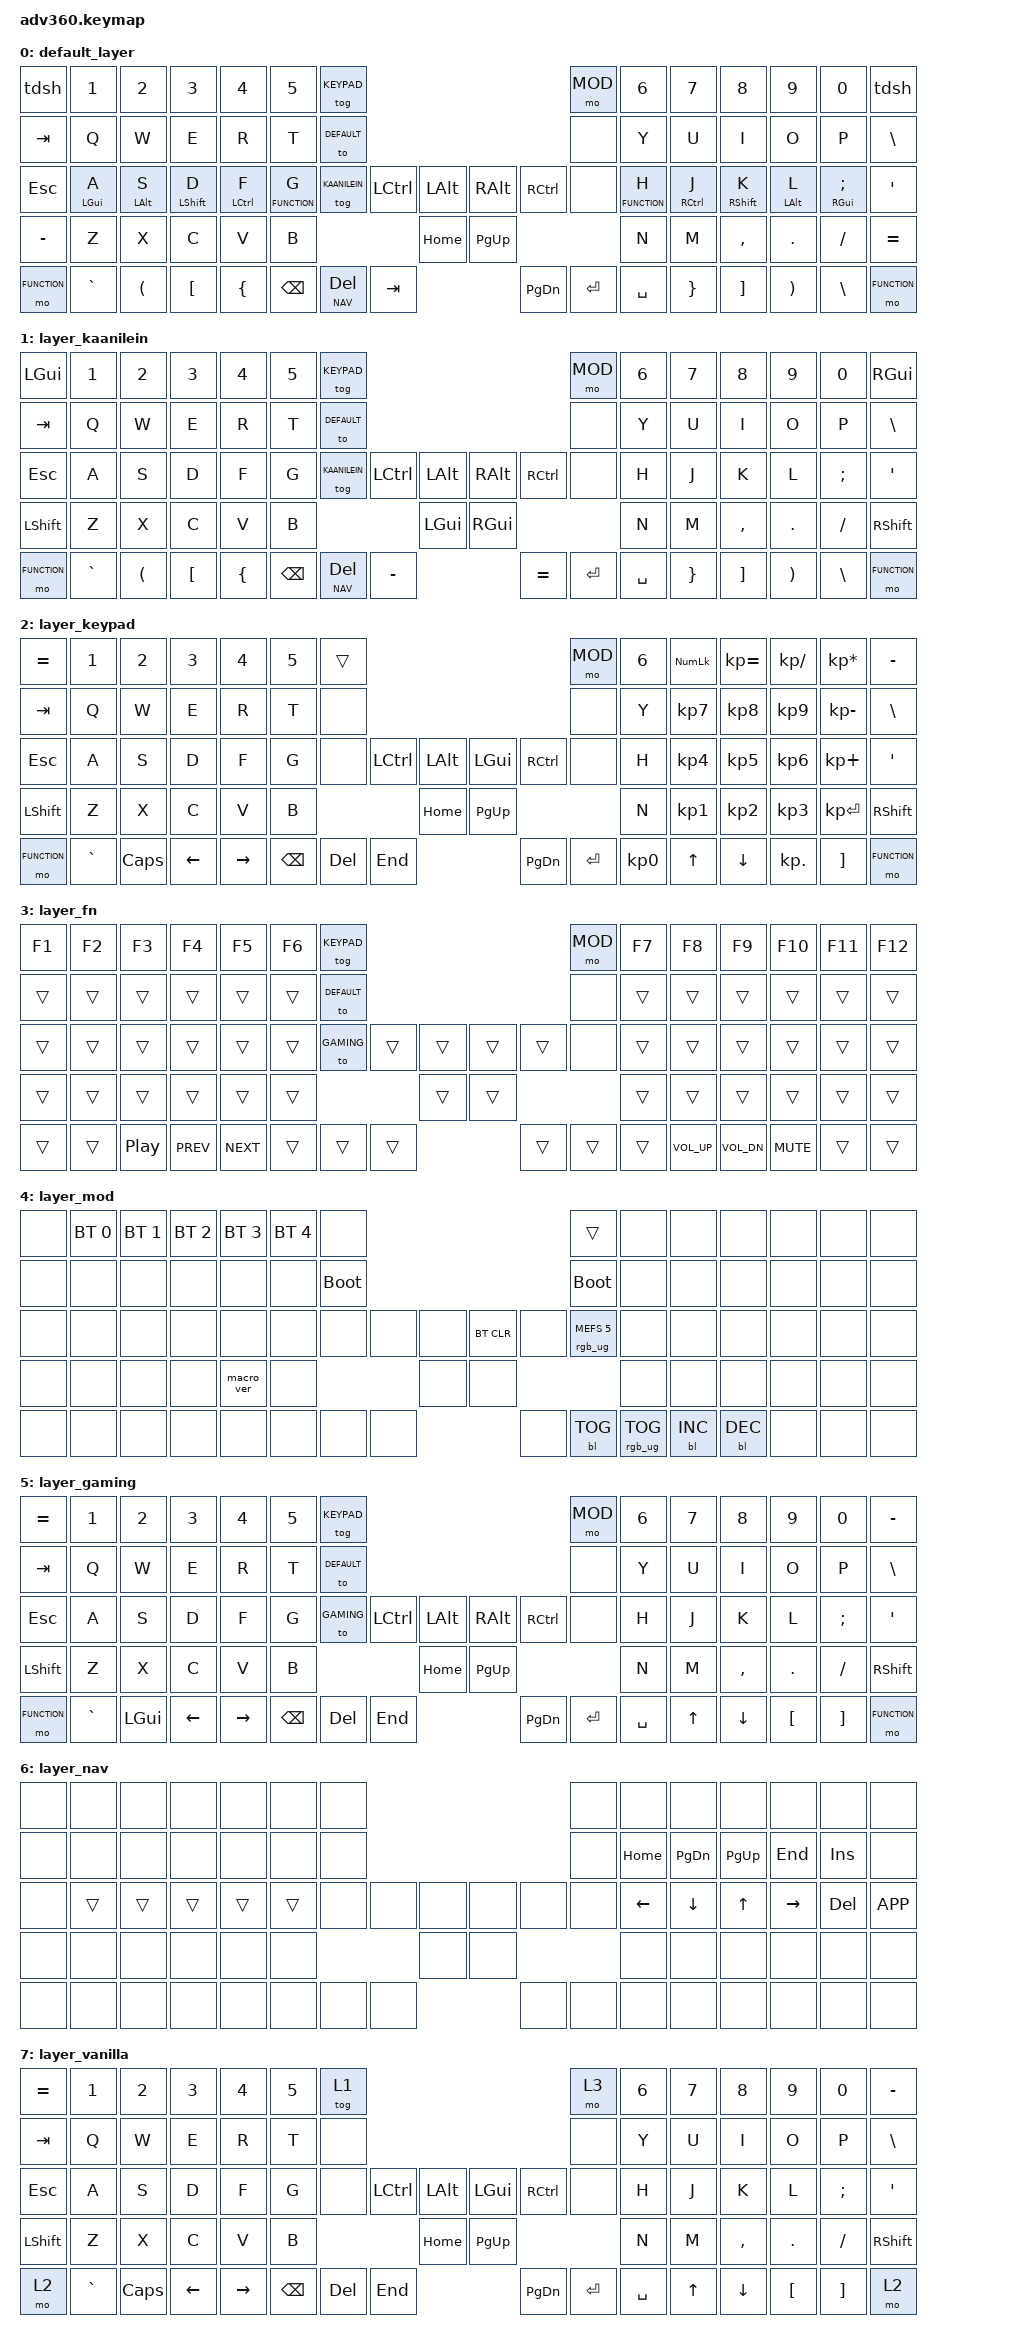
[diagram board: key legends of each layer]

/*
 * Copyright (c) 2020 The ZMK Contributors
 *
 * SPDX-License-Identifier: MIT
 */

#define DEFAULT   0
#define KAANILEIN 1
#define KEYPAD    2
#define FUNCTION  3
#define MOD       4
#define GAMING    5
#define NAV       6
#define VANILLA   7

#include <behaviors.dtsi>
#include <dt-bindings/zmk/keys.h>
#include <dt-bindings/zmk/bt.h>
#include <dt-bindings/zmk/rgb.h>
#include <dt-bindings/zmk/backlight.h>

/ {
  behaviors {
    #include "macros.dtsi"
    #include "version.dtsi"

    hm: homerow_mods {
        compatible = "zmk,behavior-hold-tap";
        label = "HOMEROW_MODS";
        #binding-cells = <2>;
        tapping-term-ms = <200>;
        quick_tap_ms = <0>;
        require-prior-idle-ms = <125>;
        flavor = "tap-preferred";
        bindings = <&kp>, <&kp>;
    };

    lt: layer_tap {
        compatible = "zmk,behavior-hold-tap";
        label = "LAYER_TAP";
        #binding-cells = <2>;
        flavor = "tap-preferred";
        tapping-term-ms = <200>;
        quick-tap-ms = <125>;
        global-quick-tap;
        bindings = <&mo>, <&kp>;
    };

    tdsh: tap_dance_shift {
      compatible = "zmk,behavior-tap-dance";
      label = "TAP_DANCE_SHIFT";
      #binding-cells = <0>;
      tapping-term-ms = <200>;
      bindings = <&caps_word>, <&kp CAPS>;
    };
  };

    keymap {
        compatible = "zmk,keymap";

        default_layer {
            bindings = <
         &tdsh      &kp N1      &kp N2       &kp N3       &kp N4          &kp N5     &tog KEYPAD                                                         &mo MOD    &kp N6          &kp N7       &kp N8       &kp N9      &kp N0         &tdsh
       &kp TAB       &kp Q       &kp W        &kp E        &kp R           &kp T     &to DEFAULT                                                         &none      &kp Y           &kp U        &kp I        &kp O       &kp P          &kp BSLH
       &kp ESC  &hm LGUI A  &hm LALT S  &hm LSHFT D  &hm LCTRL F  &lt FUNCTION G      &tog KAANILEIN  &kp LCTRL      &kp LALT          &kp RALT   &kp RCTRL  &none      &lt FUNCTION H  &hm RCTRL J  &hm RSHFT K  &hm LALT L  &hm RGUI SEMI  &kp SQT
     &kp MINUS       &kp Z       &kp X        &kp C        &kp V           &kp B                                 &kp HOME          &kp PG_UP                        &kp N           &kp M        &kp COMMA    &kp DOT     &kp FSLH       &kp EQUAL
  &mo FUNCTION   &kp GRAVE    &kp LPAR     &kp LBKT    &kp LBRC                        &kp BSPC    &lt NAV DEL   &kp TAB          &kp PG_DN  &kp ENTER  &kp SPACE                  &kp RBRC       &kp RBKT     &kp RPAR   &kp BSLH       &mo FUNCTION
            >;
        };

        layer_kaanilein {
            bindings = <
                &kp LGUI     &kp N1    &kp N2   &kp N3   &kp N4   &kp N5 &tog KEYPAD                                                                 &mo MOD &kp N6 &kp N7   &kp N8    &kp N9   &kp N0   &kp RGUI
                &kp TAB      &kp Q     &kp W    &kp E    &kp R    &kp T  &to DEFAULT                                                                 &none   &kp Y  &kp U    &kp I     &kp O    &kp P    &kp BSLH
                &kp ESC      &kp A     &kp S    &kp D    &kp F    &kp G  &tog KAANILEIN          &kp LCTRL   &kp LALT  &kp RALT  &kp RCTRL           &none   &kp H  &kp J    &kp K     &kp L    &kp SEMI &kp SQT
                &kp LSHFT    &kp Z     &kp X    &kp C    &kp V    &kp B                                      &kp LGUI  &kp RGUI                              &kp N  &kp M    &kp COMMA &kp DOT  &kp FSLH &kp RSHFT
                &mo FUNCTION &kp GRAVE &kp LPAR &kp LBKT &kp LBRC                       &kp BSPC &lt NAV DEL &kp MINUS &kp EQUAL &kp ENTER &kp SPACE                &kp RBRC &kp RBKT  &kp RPAR &kp BSLH &mo FUNCTION
                >;
        };

        layer_keypad {
            bindings = <
     &kp EQUAL     &kp N1    &kp N2    &kp N3     &kp N4  &kp N5              &trans                                                                 &mo MOD  &kp N6  &kp KP_NUM  &kp KP_EQUAL  &kp KP_DIVIDE  &kp KP_MULTIPLY     &kp MINUS
       &kp TAB      &kp Q     &kp W     &kp E      &kp R   &kp T               &none                                                                   &none   &kp Y   &kp KP_N7     &kp KP_N8      &kp KP_N9     &kp KP_MINUS      &kp BSLH
       &kp ESC      &kp A     &kp S     &kp D      &kp F   &kp G               &none  &kp LCTRL  &kp LALT                   &kp LGUI  &kp RCTRL        &none   &kp H   &kp KP_N4     &kp KP_N5      &kp KP_N6      &kp KP_PLUS       &kp SQT
     &kp LSHFT      &kp Z     &kp X     &kp C      &kp V   &kp B                                 &kp HOME                  &kp PG_UP                           &kp N   &kp KP_N1     &kp KP_N2      &kp KP_N3     &kp KP_ENTER     &kp RSHFT
  &mo FUNCTION  &kp GRAVE  &kp CAPS  &kp LEFT  &kp RIGHT                    &kp BSPC    &kp DEL   &kp END                  &kp PG_DN  &kp ENTER    &kp KP_N0              &kp UP      &kp DOWN     &kp KP_DOT         &kp RBKT  &mo FUNCTION
            >;
        };

        layer_fn {
            bindings = <
 &kp F1  &kp F2  &kp F3     &kp F4      &kp F5      &kp F6       &tog KEYPAD                                                   &mo MOD  &kp F7  &kp F8        &kp F9         &kp F10      &kp F11  &kp F12
 &trans  &trans  &trans     &trans      &trans      &trans       &to DEFAULT                                                     &none  &trans  &trans        &trans         &trans       &trans   &trans
 &trans  &trans  &trans     &trans      &trans      &trans        &to GAMING  &trans  &trans                  &trans  &trans     &none  &trans  &trans        &trans         &trans       &trans   &trans
 &trans  &trans  &trans     &trans      &trans      &trans                            &trans                  &trans                    &trans  &trans        &trans         &trans       &trans   &trans
 &trans  &trans  &kp C_PP   &kp C_PREV  &kp C_NEXT                    &trans  &trans  &trans                  &trans  &trans    &trans          &kp C_VOL_UP  &kp C_VOL_DN   &kp C_MUTE   &trans   &trans
            >;
        };

        layer_mod {
            bindings = <
  &none  &bt BT_SEL 0  &bt BT_SEL 1  &bt BT_SEL 2  &bt BT_SEL 3  &bt BT_SEL 4                  &none                                                                          &trans   &none       &none       &none   &none   &none   &none
  &none         &none         &none         &none         &none         &none            &bootloader                                                                     &bootloader   &none       &none       &none   &none   &none   &none
  &none         &none         &none         &none         &none         &none                  &none   &none   &none                  &bt BT_CLR       &none  &rgb_ug RGB_MEFS_CMD 5   &none       &none       &none   &none   &none   &none
  &none         &none         &none         &none    &macro_ver         &none                                  &none                       &none                                       &none       &none       &none   &none   &none   &none
  &none         &none         &none         &none         &none                                &none   &none   &none                       &none  &bl BL_TOG         &rgb_ug RGB_TOG          &bl BL_INC  &bl BL_DEC   &none   &none   &none
            >;
        };

        layer_gaming {
            bindings = <
     &kp EQUAL     &kp N1    &kp N2    &kp N3     &kp N4  &kp N5         &tog KEYPAD                                                                 &mo MOD  &kp N6  &kp N7     &kp N8    &kp N9    &kp N0     &kp MINUS
       &kp TAB      &kp Q     &kp W     &kp E      &kp R   &kp T         &to DEFAULT                                                                   &none   &kp Y   &kp U      &kp I     &kp O     &kp P      &kp BSLH
       &kp ESC      &kp A     &kp S     &kp D      &kp F   &kp G          &to GAMING  &kp LCTRL  &kp LALT                   &kp RALT  &kp RCTRL        &none   &kp H   &kp J      &kp K     &kp L  &kp SEMI       &kp SQT
     &kp LSHFT      &kp Z     &kp X     &kp C      &kp V   &kp B                                 &kp HOME                  &kp PG_UP                           &kp N   &kp M  &kp COMMA   &kp DOT  &kp FSLH     &kp RSHFT
  &mo FUNCTION  &kp GRAVE  &kp LGUI  &kp LEFT  &kp RIGHT                    &kp BSPC    &kp DEL   &kp END                  &kp PG_DN  &kp ENTER    &kp SPACE          &kp UP   &kp DOWN  &kp LBKT  &kp RBKT  &mo FUNCTION
            >;
        };

        layer_nav {
            bindings = <
  &none         &none         &none         &none         &none         &none                  &none                                                       &none                   &none       &none       &none      &none      &none      &none
  &none         &none         &none         &none         &none         &none                  &none                                                       &none                   &kp HOME    &kp PG_DN   &kp PG_UP  &kp END    &kp INS    &none
  &none         &trans        &trans        &trans        &trans        &trans                 &none   &none   &none                       &none   &none   &none                   &kp LEFT    &kp DOWN    &kp UP     &kp RIGHT  &kp DEL    &kp K_APP
  &none         &none         &none         &none         &none         &none                                  &none                       &none                                   &none       &none       &none      &none      &none      &none
  &none         &none         &none         &none         &none                                &none   &none   &none                       &none   &none   &none                               &none       &none      &none      &none      &none
            >;
        };

        layer_vanilla {
              bindings = <
        &kp EQUAL &kp N1    &kp N2   &kp N3   &kp N4     &kp N5 &tog 1                                                           &mo 3 &kp N6 &kp N7 &kp N8    &kp N9   &kp N0   &kp MINUS
        &kp TAB   &kp Q     &kp W    &kp E    &kp R      &kp T  &none                                                            &none &kp Y  &kp U  &kp I     &kp O    &kp P    &kp BSLH
        &kp ESC   &kp A     &kp S    &kp D    &kp F      &kp G  &none           &kp LCTRL &kp LALT &kp LGUI  &kp RCTRL           &none &kp H  &kp J  &kp K     &kp L    &kp SEMI &kp SQT
        &kp LSHFT &kp Z     &kp X    &kp C    &kp V      &kp B                            &kp HOME &kp PG_UP                           &kp N  &kp M  &kp COMMA &kp DOT  &kp FSLH &kp RSHFT
        &mo 2     &kp GRAVE &kp CAPS &kp LEFT &kp RIGHT                &kp BSPC &kp DEL   &kp END  &kp PG_DN &kp ENTER &kp SPACE              &kp UP &kp DOWN  &kp LBKT &kp RBKT &mo 2
          >;
        };
    };
};
